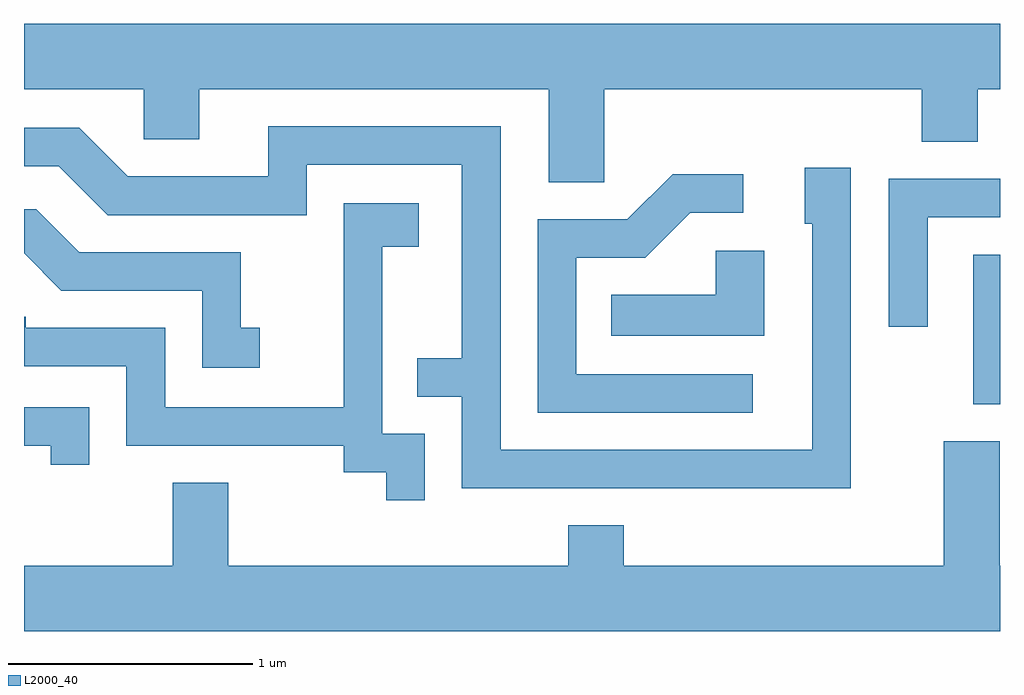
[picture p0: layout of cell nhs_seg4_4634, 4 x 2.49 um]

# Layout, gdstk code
import gdstk
lib = gdstk.Library(unit=1e-6, precision=1e-09)
def R(c, l, rs):  # rectangles x0, y0, x1, y1
    for r in rs: c.add(gdstk.rectangle(r[:2], r[2:], *l))
def P(c, l, *ps):  # polygons
    for p in ps: c.add(gdstk.Polygon(p, *l))
L2000_40 = (2000, 40)

nhs_seg4_4634 = lib.new_cell('nhs_seg4_4634')
R(nhs_seg4_4634, L2000_40, [(325.501,1275.686,325.611,1276.299)])
P(nhs_seg4_4634, L2000_40, [(323.989,1276.976),(325.291,1276.976),(325.291,1276.761),(325.519,1276.761),(325.519,1276.976),(325.611,1276.976),(325.611,1277.244),(321.611,1277.244),(321.611,1276.976),(322.101,1276.976),(322.101,1276.771),(322.329,1276.771),(322.329,1276.976),(323.761,1276.976),(323.761,1276.596),(323.989,1276.596)],
  [(324.999,1276.654),(324.811,1276.654),(324.811,1276.426),(324.841,1276.426),(324.841,1275.499),(323.564,1275.499),(323.564,1276.824),(322.611,1276.824),(322.611,1276.619),(322.037,1276.619),(321.837,1276.819),(321.611,1276.819),(321.611,1276.661),(321.754,1276.661),(321.954,1276.461),(322.769,1276.461),(322.769,1276.666),(323.406,1276.666),(323.406,1275.874),(323.223,1275.874),(323.223,1275.716),(323.406,1275.716),(323.406,1275.341),(324.999,1275.341)],
  [(324.598,1275.809),(323.874,1275.809),(323.874,1276.286),(324.157,1276.286),(324.342,1276.471),(324.558,1276.471),(324.558,1276.629),(324.269,1276.629),(324.084,1276.444),(323.716,1276.444),(323.716,1275.651),(324.598,1275.651)],
  [(325.314,1276.451),(325.611,1276.451),(325.611,1276.609),(325.156,1276.609),(325.156,1276.003),(325.314,1276.003)],
  [(323.254,1275.564),(323.079,1275.564),(323.079,1276.331),(323.229,1276.331),(323.229,1276.509),(322.921,1276.509),(322.921,1275.674),(322.189,1275.674),(322.189,1275.999),(321.619,1275.999),(321.619,1276.044),(321.611,1276.044),(321.611,1275.841),(322.031,1275.841),(322.031,1275.516),(322.921,1275.516),(322.921,1275.406),(323.096,1275.406),(323.096,1275.293),(323.254,1275.293)],
  [(322.578,1275.999),(322.499,1275.999),(322.499,1276.309),(321.837,1276.309),(321.662,1276.484),(321.611,1276.484),(321.611,1276.304),(321.764,1276.151),(322.341,1276.151),(322.341,1275.836),(322.578,1275.836)],
  [(324.644,1276.314),(324.446,1276.314),(324.446,1276.134),(324.018,1276.134),(324.018,1275.966),(324.644,1275.966)],
  [(321.879,1275.674),(321.611,1275.674),(321.611,1275.516),(321.721,1275.516),(321.721,1275.438),(321.879,1275.438)],
  [(325.611,1275.024),(325.609,1275.024),(325.609,1275.534),(325.381,1275.534),(325.381,1275.024),(324.069,1275.024),(324.069,1275.189),(323.841,1275.189),(323.841,1275.024),(322.449,1275.024),(322.449,1275.364),(322.221,1275.364),(322.221,1275.024),(321.611,1275.024),(321.611,1274.756),(325.611,1274.756)])

lib.write_gds('nhs_seg4_4634.gds')
